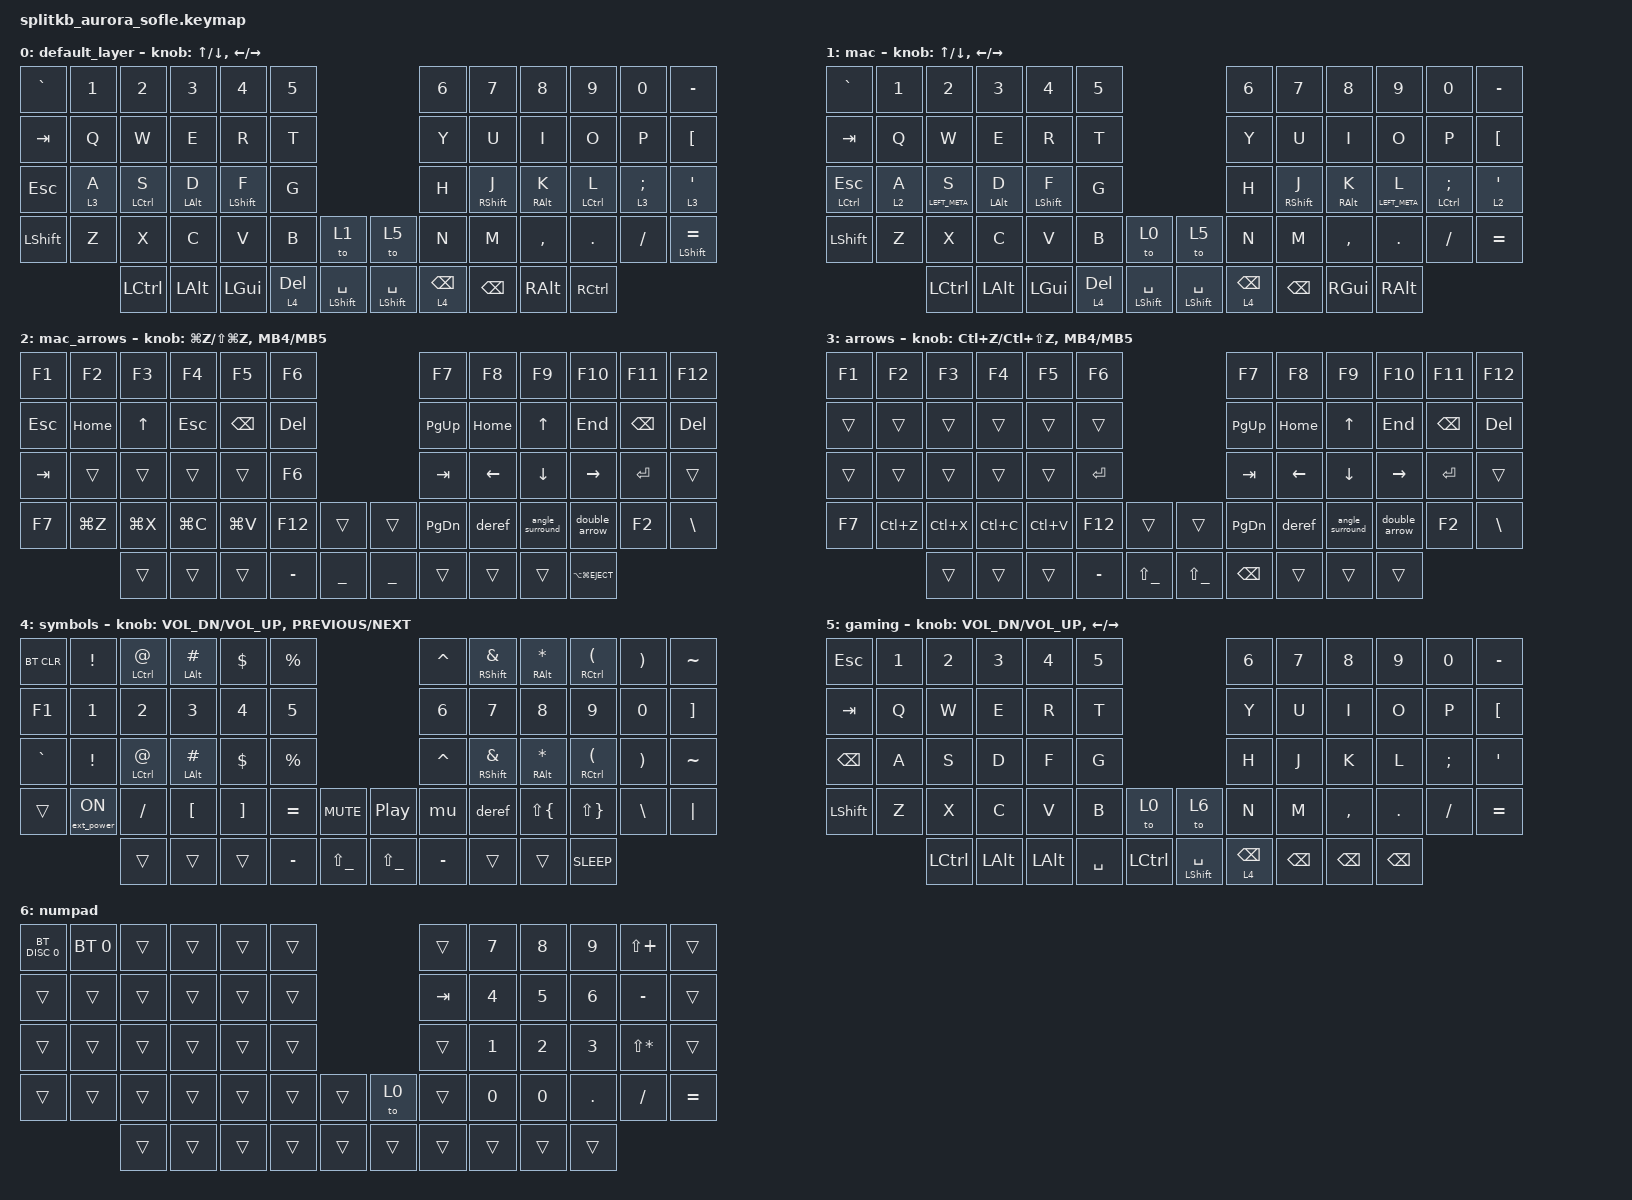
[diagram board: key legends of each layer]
/*
 * Copyright (c) 2023 The ZMK Contributors
 *
 * SPDX-License-Identifier: MIT
 */

#include <behaviors.dtsi>
#include <dt-bindings/zmk/bt.h>
#include <dt-bindings/zmk/ext_power.h>
#include <dt-bindings/zmk/keys.h>
#include <dt-bindings/zmk/mouse.h>

&led_strip {
    // chain-length = <6>;
    // chain-length = <35>; // Uncomment if using both per-key and underglow LEDs

    chain-length = <29>; // Uncomment if using only per-key LEDs.
};

&lt {
    tapping-term-ms = <180>;
    flavor = "balanced";
};

&mt {
    tapping-term-ms = <180>;
    flavor = "balanced";
};

&sensors { triggers-per-rotation = <72>; };

/ {
    macros {
        deref: deref {
            compatible = "zmk,behavior-macro";
            #binding-cells = <0>;
            bindings = <&kp MINUS &kp GT>;
            label = "DEREF";
        };

        double_arrow: double_arrow {
            compatible = "zmk,behavior-macro";
            #binding-cells = <0>;
            bindings = <&kp EQUAL &kp GT>;
            label = "DOUBLE_ARROW";
        };

        angle_surround: angle_surround {
            compatible = "zmk,behavior-macro";
            #binding-cells = <0>;
            bindings = <&kp LT &kp GT &kp LEFT>;
            label = "ANGLE_SURROUND";
        };

        mu: mu {
            compatible = "zmk,behavior-macro";
            #binding-cells = <0>;
            bindings = <&kp RA(RS(N8))>;
            label = "MU";
        };
    };

    behaviors {
        rot_mkp: rot_mkp {
            compatible = "zmk,behavior-sensor-rotate-var";
            #sensor-binding-cells = <2>;
            bindings = <&mkp>, <&mkp>;
        };
    };

    combos {
        compatible = "zmk,combos";

        delete {
            bindings = <&kp DEL>;
            key-positions = <10 11>;
        };

        enter {
            bindings = <&kp ENTER>;
            key-positions = <34 35>;
        };

        caps_lock {
            bindings = <&kp CAPS>;
            key-positions = <36 24>;
        };

        backspace {
            bindings = <&kp BACKSPACE>;
            key-positions = <22 23>;
        };
    };

    keymap {
        compatible = "zmk,keymap";

        default_layer {
            bindings = <
&kp GRAVE  &kp N1   &kp N2       &kp N3          &kp N4       &kp N5                                                   &kp N6           &kp N7       &kp N8      &kp N9       &kp N0           &kp MINUS
&kp TAB    &kp Q    &kp W        &kp E           &kp R        &kp T                                                    &kp Y            &kp U        &kp I       &kp O        &kp P            &kp LEFT_BRACKET
&kp ESC    &lt 3 A  &mt LCTRL S  &mt LEFT_ALT D  &mt LSHFT F  &kp G                                                    &kp H            &mt RSHFT J  &mt RALT K  &mt LCTRL L  &lt 3 SEMICOLON  &lt 3 SQT
&kp LSHFT  &kp Z    &kp X        &kp C           &kp V        &kp B      &to 1                   &to 5                 &kp N            &kp M        &kp COMMA   &kp DOT      &kp FSLH         &mt LEFT_SHIFT EQUAL
                    &kp LCTRL    &kp LALT        &kp LGUI     &lt 4 DEL  &mt LEFT_SHIFT SPACE    &mt LEFT_SHIFT SPACE  &lt 4 BACKSPACE  &kp BSPC     &kp RALT    &kp RCTRL
            >;

            sensor-bindings =
                <&inc_dec_kp UP_ARROW DOWN_ARROW>,
                <&inc_dec_kp LEFT_ARROW RIGHT_ARROW>;
        };

        mac {
            bindings = <
&kp GRAVE      &kp N1   &kp N2           &kp N3          &kp N4       &kp N5                                                      &kp N6           &kp N7       &kp N8      &kp N9           &kp N0               &kp MINUS
&kp TAB        &kp Q    &kp W            &kp E           &kp R        &kp T                                                       &kp Y            &kp U        &kp I       &kp O            &kp P                &kp LEFT_BRACKET
&mt LCTRL ESC  &lt 2 A  &mt LEFT_META S  &mt LEFT_ALT D  &mt LSHFT F  &kp G                                                       &kp H            &mt RSHFT J  &mt RALT K  &mt LEFT_META L  &mt LCTRL SEMICOLON  &lt 2 SQT
&kp LSHFT      &kp Z    &kp X            &kp C           &kp V        &kp B         &to 0                   &to 5                 &kp N            &kp M        &kp COMMA   &kp DOT          &kp FSLH             &kp EQUAL
                        &kp LCTRL        &kp LALT        &kp LGUI     &lt 4 DELETE  &mt LEFT_SHIFT SPACE    &mt LEFT_SHIFT SPACE  &lt 4 BACKSPACE  &kp BSPC     &kp RGUI    &kp RALT
            >;

            sensor-bindings =
                <&inc_dec_kp UP_ARROW DOWN>,
                <&inc_dec_kp LEFT_ARROW RIGHT>;
        };

        mac_arrows {
            bindings = <
&kp F1   &kp F2     &kp F3     &kp F4      &kp F5     &kp F6                             &kp F7         &kp F8    &kp F9           &kp F10              &kp F11        &kp F12
&kp ESC  &kp HOME   &kp UP     &kp ESCAPE  &kp BSPC   &kp DEL                            &kp PAGE_UP    &kp HOME  &kp UP_ARROW     &kp END              &kp BACKSPACE  &kp DEL
&kp TAB  &trans     &trans     &trans      &trans     &kp F6                             &kp TAB        &kp LEFT  &kp DOWN         &kp RIGHT_ARROW      &kp ENTER      &trans
&kp F7   &kp LG(Z)  &kp LG(X)  &kp LG(C)   &kp LG(V)  &kp F12    &trans       &trans     &kp PAGE_DOWN  &deref    &angle_surround  &double_arrow        &kp F2         &kp BSLH
                    &trans     &trans      &trans     &kp MINUS  &kp UNDER    &kp UNDER  &trans         &trans    &trans           &kp LA(LG(K_EJECT))
            >;

            sensor-bindings =
                <&inc_dec_kp LG(Z) LS(LG(Z))>,
                <&rot_mkp MB4 MB5>;
        };

        arrows {
            bindings = <
&kp F1  &kp F2     &kp F3     &kp F4     &kp F5     &kp F6                                     &kp F7         &kp F8    &kp F9           &kp F10          &kp F11        &kp F12
&trans  &trans     &trans     &trans     &trans     &trans                                     &kp PAGE_UP    &kp HOME  &kp UP_ARROW     &kp END          &kp BACKSPACE  &kp DEL
&trans  &trans     &trans     &trans     &trans     &kp ENTER                                  &kp TAB        &kp LEFT  &kp DOWN         &kp RIGHT_ARROW  &kp ENTER      &trans
&kp F7  &kp LC(Z)  &kp LC(X)  &kp LC(C)  &kp LC(V)  &kp F12    &trans           &trans         &kp PAGE_DOWN  &deref    &angle_surround  &double_arrow    &kp F2         &kp BSLH
                   &trans     &trans     &trans     &kp MINUS  &kp LS(UNDER)    &kp LS(UNDER)  &kp BACKSPACE  &trans    &trans           &trans
            >;

            sensor-bindings =
                <&inc_dec_kp LC(Z) LC(LS(Z))>,
                <&rot_mkp MB4 MB5>;
        };

        symbols {
            bindings = <
&bt BT_CLR  &kp EXCL          &mt LCTRL AT  &mt LALT HASH     &kp DOLLAR         &kp PRCNT                                     &kp CARET  &mt RIGHT_SHIFT AMPERSAND  &mt RALT ASTRK  &mt RCTRL LEFT_PARENTHESIS  &kp RPAR       &kp TILDE
&kp F1      &kp N1            &kp N2        &kp N3            &kp N4             &kp N5                                        &kp N6     &kp N7                     &kp N8          &kp N9                      &kp N0         &kp RBKT
&kp GRAVE   &kp EXCL          &mt LCTRL AT  &mt LALT HASH     &kp DOLLAR         &kp PRCNT                                     &kp CARET  &mt RIGHT_SHIFT AMPERSAND  &mt RALT ASTRK  &mt RCTRL LEFT_PARENTHESIS  &kp RPAR       &kp TILDE
&trans      &ext_power EP_ON  &kp SLASH     &kp LEFT_BRACKET  &kp RIGHT_BRACKET  &kp EQUAL  &kp K_MUTE       &kp C_PLAY_PAUSE  &mu        &deref                     &kp LS(LBRC)    &kp LS(RBRC)                &kp BACKSLASH  &kp PIPE
                              &trans        &trans            &trans             &kp MINUS  &kp LS(UNDER)    &kp LS(UNDER)     &kp MINUS  &trans                     &trans          &kp K_SLEEP
            >;

            sensor-bindings =
                <&inc_dec_kp C_VOL_DN C_VOL_UP>,
                <&inc_dec_kp C_PREVIOUS C_NEXT>;
        };

        gaming {
            bindings = <
&kp ESC    &kp N1  &kp N2     &kp N3    &kp N4    &kp N5                                        &kp N6           &kp N7    &kp N8     &kp N9    &kp N0    &kp MINUS
&kp TAB    &kp Q   &kp W      &kp E     &kp R     &kp T                                         &kp Y            &kp U     &kp I      &kp O     &kp P     &kp LBKT
&kp BSPC   &kp A   &kp S      &kp D     &kp F     &kp G                                         &kp H            &kp J     &kp K      &kp L     &kp SEMI  &kp SQT
&kp LSHFT  &kp Z   &kp X      &kp C     &kp V     &kp B      &to 0        &to 6                 &kp N            &kp M     &kp COMMA  &kp DOT   &kp FSLH  &kp EQUAL
                   &kp LCTRL  &kp LALT  &kp LALT  &kp SPACE  &kp LCTRL    &mt LEFT_SHIFT SPACE  &lt 4 BACKSPACE  &kp BSPC  &kp BSPC   &kp BSPC
            >;

            sensor-bindings =
                <&inc_dec_kp C_VOL_DN C_VOL_UP>,
                <&inc_dec_kp LEFT_ARROW RIGHT_ARROW>;
        };

        numpad {
            bindings = <
&bt BT_DISC 0  &bt BT_SEL 0  &trans  &trans  &trans  &trans                    &trans  &kp N7  &kp N8  &kp N9   &kp LS(PLUS)  &trans
&trans         &trans        &trans  &trans  &trans  &trans                    &kp TAB  &kp N4  &kp N5  &kp N6   &kp MINUS     &trans
&trans         &trans        &trans  &trans  &trans  &trans                    &trans  &kp N1  &kp N2  &kp N3   &kp LS(STAR)  &trans
&trans         &trans        &trans  &trans  &trans  &trans  &trans    &to 0   &trans  &kp N0  &kp N0  &kp DOT  &kp FSLH      &kp EQUAL
                             &trans  &trans  &trans  &trans  &trans    &trans  &trans  &trans  &trans  &trans
            >;
        };
    };
};
